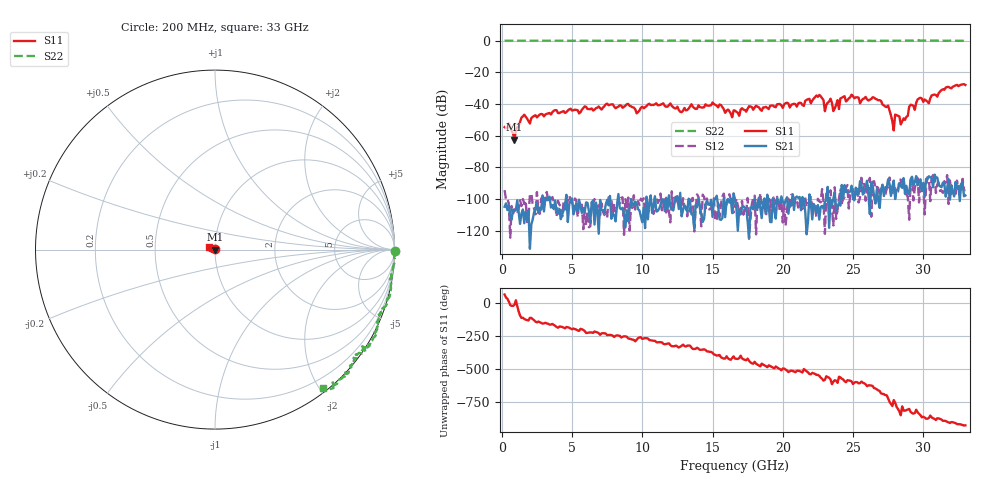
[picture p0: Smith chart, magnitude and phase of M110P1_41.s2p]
# GHZ S RI R 50
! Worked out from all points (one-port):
!   329 points, 200 MHz to 33 GHz, reference 50 ohm
!   lowest |S11| = -62.5 dB at 900 MHz (marker M1), VSWR 1.00, Z = 50.1 - j0.0149 ohm
!   |S11| at or under -10 dB: start of sweep to end of sweep
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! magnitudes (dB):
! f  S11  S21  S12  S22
! 200 MHz  -54.7  -105.0  -94.4  0.0
! 500 MHz  -52.6  -104.0  -103.0  0.0
! 900 MHz  -62.5  -107.5  -106.7  0.0
! 1.6 GHz  -46.8  -115.4  -103.3  0.0
! 2 GHz  -52.3  -131.5  -97.5  0.0
! 5.7 GHz  -43.6  -108.9  -103.6  -0.1
! 11.2 GHz  -40.7  -106.2  -101.0  0.0
! 16.6 GHz  -44.1  -100.3  -105.1  -0.1
! 22.1 GHz  -37.9  -113.0  -105.7  0.1
! 22.6 GHz  -34.3  -113.1  -101.6  -0.1
! 23 GHz  -44.6  -102.1  -122.1  0.0
! 23.4 GHz  -36.7  -100.5  -94.6  -0.2
! 23.6 GHz  -44.5  -99.9  -116.8  0.0
! 24.4 GHz  -35.1  -91.3  -98.8  -0.1
! 26.4 GHz  -35.8  -91.4  -89.2  -0.2
! 27.6 GHz  -44.1  -90.6  -86.5  0.0
! 27.9 GHz  -56.7  -88.4  -95.2  -0.1
! 28 GHz  -46.7  -100.1  -93.2  0.0
! 28.4 GHz  -52.9  -91.8  -87.8  0.0
! 29.7 GHz  -36.5  -89.3  -102.2  0.1
! 30.4 GHz  -39.6  -85.7  -86.6  0.1
! 33 GHz  -28.0  -97.8  -94.4  -0.2
